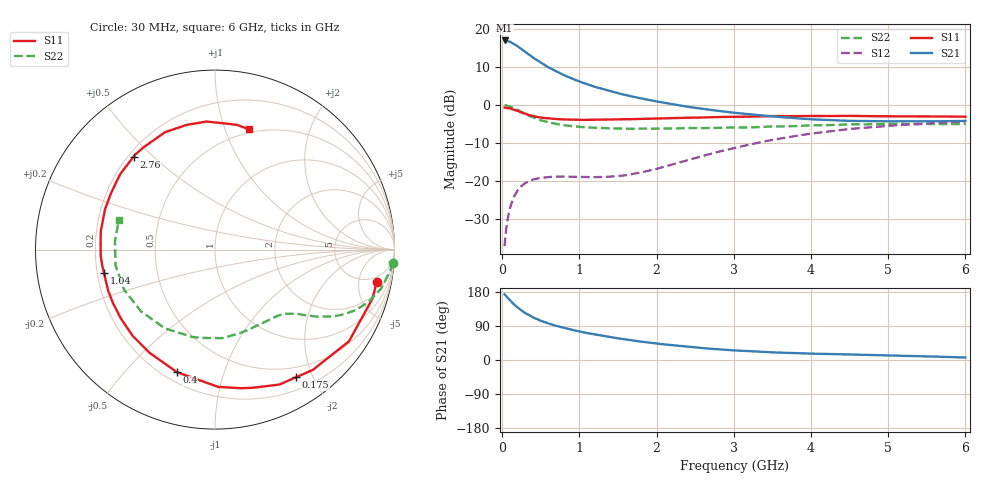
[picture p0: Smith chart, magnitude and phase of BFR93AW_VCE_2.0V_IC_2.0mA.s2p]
! Infineon Technologies  Discrete & RF Semiconductors
! BFR93AW
! VCE =  2.0 V,  IC =  2.0 mA
! Common Emitter S-Parameters:  Nov 2015
# GHz  S  MA  R  50
!  f  S11  S21  S12  S22
! GHz  MAG  ANG  MAG  ANG  MAG  ANG  MAG  ANG
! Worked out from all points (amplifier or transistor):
!   206 points, 30 MHz to 6 GHz, reference 50 ohm
!   highest |S21| = 17.0 dB at 30 MHz (marker M1)
!   |S21| within 3 dB of that: start of sweep to 297.4 MHz
!   unconditionally stable (mu >= 1): 1.218 GHz to 2.505 GHz; 5.713 GHz to end of sweep
!   at 200 MHz: K = 0.17, MSG = 19.0 dB, |S12| = -22.5 dB
!   at 1.56 GHz: K = 1.17, MAG = 8.2 dB, |S12| = -18.7 dB
!   at 6 GHz: K = 1.01, MAG = -0.4 dB, |S12| = -4.4 dB
!   S11 on the Smith chart (normalised r, x): 30 MHz: 3.57, -8.44; 175 MHz: 0.36, -1.76; 400 MHz: 0.25, -0.71; 1.04 GHz: 0.23, -0.10; 2.76 GHz: 0.22, +0.44; 6 GHz: 0.46, +1.21
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0.03  0.9191 -11.5  7.047 173.2  0.0137 81.4  0.9923 -4.2
0.055  0.9136 -19.0  6.964 167.4  0.0249 78.1  0.9796 -7.5
0.1  0.9045 -34.4  6.78 157.6  0.0437 71.3  0.9503 -13.3
0.15  0.8639 -50.9  6.361 147.0  0.0609 63.0  0.9042 -18.8
0.175  0.8425 -57.6  6.111 142.8  0.0678 59.1  0.8782 -21.0
0.2  0.8331 -64.5  5.896 138.3  0.0749 56.0  0.8535 -23.3
0.26  0.7855 -79.5  5.317 129.0  0.0869 49.1  0.7924 -27.3
0.3  0.765 -88.7  4.967 123.5  0.0931 45.6  0.7565 -29.5
0.4  0.7149 -107.3  4.177 112.2  0.1038 38.7  0.6807 -33.3
0.5  0.6811 -122.2  3.59 103.3  0.109 34.3  0.6247 -35.9
0.6  0.6642 -133.8  3.109 96.1  0.1118 31.4  0.5871 -37.7
0.7  0.6498 -143.7  2.754 90.1  0.1133 30.1  0.5597 -39.7
0.8  0.6419 -152.3  2.457 84.6  0.1132 29.4  0.5371 -41.7
1.04  0.632 -167.9  1.959 73.6  0.112 31.5  0.5086 -46.5
1.2  0.6377 -176.5  1.723 67.3  0.1112 34.3  0.4983 -50.3
1.5  0.6445 170.8  1.418 57.2  0.1151 43.1  0.488 -58.2
2.02  0.6582 152.2  1.098 42.8  0.145 58.0  0.4858 -73.8
2.76  0.6886 131.2  0.842 28.7  0.2349 64.8  0.4962 -97.4
3.1  0.696 122.4  0.768 24.4  0.2833 62.9  0.5022 -108.1
4.1  0.7117 100.9  0.638 16.4  0.4292 50.4  0.537 -143.4
5.1  0.7048 85.1  0.606 11.7  0.5373 35.1  0.5584 -173.7
6  0.6966 74.4  0.613 6.5  0.6034 22.8  0.5606 163.1
